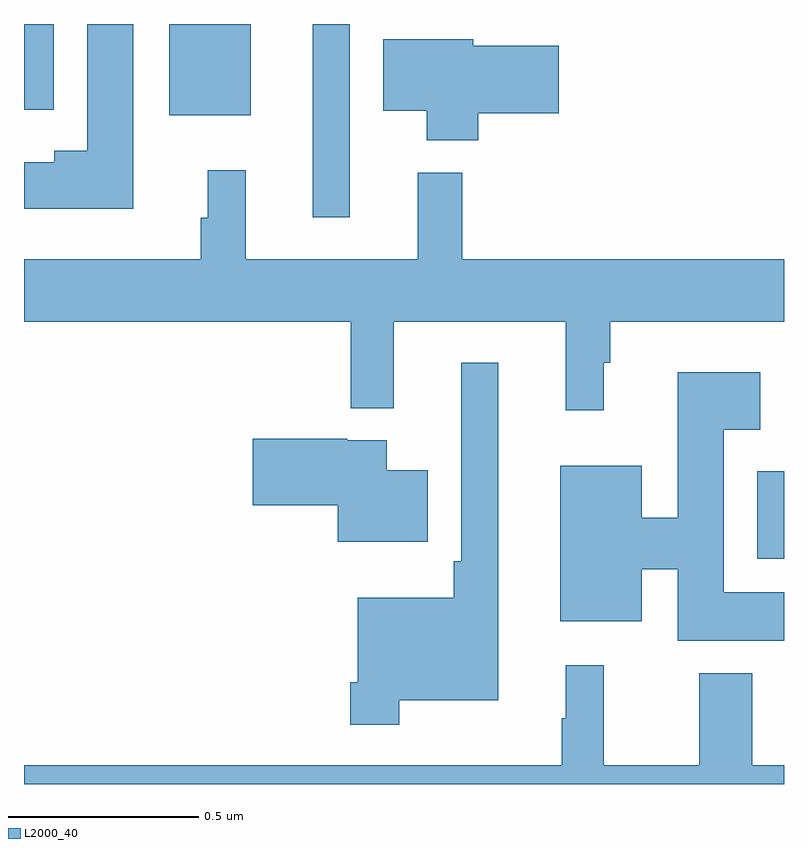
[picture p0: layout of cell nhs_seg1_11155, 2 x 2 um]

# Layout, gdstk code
import gdstk
lib = gdstk.Library(unit=1e-6, precision=1e-09)
def R(c, l, rs):  # rectangles x0, y0, x1, y1
    for r in rs: c.add(gdstk.rectangle(r[:2], r[2:], *l))
def P(c, l, *ps):  # polygons
    for p in ps: c.add(gdstk.Polygon(p, *l))
L2000_40 = (2000, 40)

nhs_seg1_11155 = lib.new_cell('nhs_seg1_11155')
R(nhs_seg1_11155, L2000_40, [(251.93,533.792,252,534.022), (250.76,534.69,250.857,535.199), (250.382,534.959,250.597,535.199), (250,534.974,250.078,535.199)])
P(nhs_seg1_11155, L2000_40, [(250.288,535.199),(250.166,535.199),(250.166,534.865),(250.079,534.865),(250.079,534.835),(250,534.835),(250,534.713),(250.288,534.713)],
  [(251.195,534.964),(251.407,534.964),(251.407,535.142),(251.182,535.142),(251.182,535.159),(250.946,535.159),(250.946,534.971),(251.06,534.971),(251.06,534.893),(251.195,534.893)],
  [(251.525,534.308),(251.543,534.308),(251.543,534.416),(252,534.416),(252,534.58),(251.153,534.58),(251.153,534.808),(251.036,534.808),(251.036,534.58),(250.583,534.58),(250.583,534.814),(250.484,534.814),(250.484,534.689),(250.465,534.689),(250.465,534.58),(250,534.58),(250,534.416),(250.86,534.416),(250.86,534.188),(250.973,534.188),(250.973,534.416),(251.426,534.416),(251.426,534.183),(251.525,534.183)],
  [(250.987,533.42),(251.248,533.42),(251.248,534.307),(251.151,534.307),(251.151,533.785),(251.131,533.785),(251.131,533.689),(250.878,533.689),(250.878,533.467),(250.858,533.467),(250.858,533.355),(250.987,533.355)],
  [(252,533.704),(251.842,533.704),(251.842,534.131),(251.938,534.131),(251.938,534.283),(251.72,534.283),(251.72,533.9),(251.626,533.9),(251.626,534.037),(251.411,534.037),(251.411,533.627),(251.626,533.627),(251.626,533.764),(251.72,533.764),(251.72,533.576),(252,533.576)],
  [(251.062,534.025),(250.954,534.025),(250.954,534.103),(250.85,534.103),(250.85,534.108),(250.602,534.108),(250.602,533.933),(250.826,533.933),(250.826,533.837),(251.062,533.837)],
  [(252,533.248),(251.917,533.248),(251.917,533.491),(251.777,533.491),(251.777,533.248),(251.526,533.248),(251.526,533.512),(251.426,533.512),(251.426,533.372),(251.415,533.372),(251.415,533.248),(250,533.248),(250,533.199),(252,533.199)])

lib.write_gds('nhs_seg1_11155.gds')
